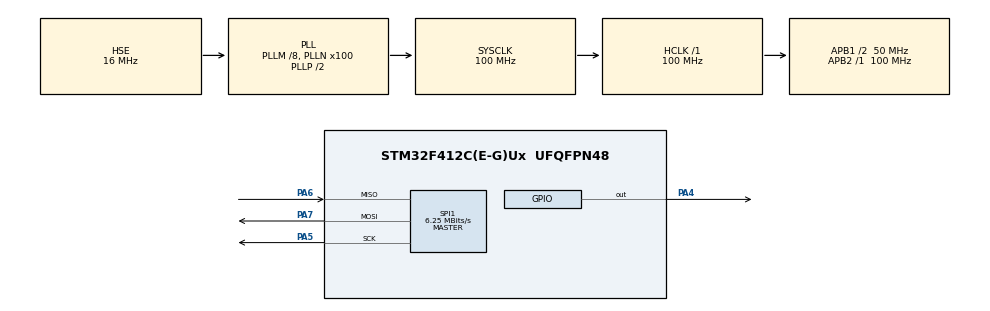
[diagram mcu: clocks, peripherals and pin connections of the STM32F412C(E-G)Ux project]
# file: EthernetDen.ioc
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Mcu.Family=STM32F4
Mcu.Name=STM32F412C(E-G)Ux
Mcu.Package=UFQFPN48
NVIC.PriorityGroup=NVIC_PRIORITYGROUP_4
PA4.Signal=GPIO_Output
PA5.Mode=Full_Duplex_Master
PA5.Signal=SPI1_SCK
PA6.Mode=Full_Duplex_Master
PA6.Signal=SPI1_MISO
PA7.Mode=Full_Duplex_Master
PA7.Signal=SPI1_MOSI
PH0\ -\ OSC_IN.Mode=HSE-External-Oscillator
PH0\ -\ OSC_IN.Signal=RCC_OSC_IN
PH1\ -\ OSC_OUT.Mode=HSE-External-Oscillator
PH1\ -\ OSC_OUT.Signal=RCC_OSC_OUT
ProjectManager.HeapSize=0x200
ProjectManager.StackSize=0x400
ProjectManager.TargetToolchain=STM32CubeIDE
RCC.AHBFreq_Value=100000000
RCC.APB1CLKDivider=RCC_HCLK_DIV2
RCC.APB1Freq_Value=50000000
RCC.APB1TimFreq_Value=100000000
RCC.APB2Freq_Value=100000000
RCC.APB2TimFreq_Value=100000000
RCC.CortexFreq_Value=100000000
RCC.HCLKFreq_Value=100000000
RCC.HSE_VALUE=16000000
RCC.PLLM=8
RCC.PLLN=100
RCC.PLLSourceVirtual=RCC_PLLSOURCE_HSE
RCC.SYSCLKFreq_VALUE=100000000
RCC.SYSCLKSource=RCC_SYSCLKSOURCE_PLLCLK
RCC.USBFreq_Value=100000000
RCC.VCOOutputFreq_Value=200000000
SPI1.BaudRatePrescaler=SPI_BAUDRATEPRESCALER_16
SPI1.CalculateBaudRate=6.25 MBits/s
SPI1.Direction=SPI_DIRECTION_2LINES
SPI1.Mode=SPI_MODE_MASTER
SPI1.VirtualType=VM_MASTER
board=custom

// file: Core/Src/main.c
/* USER CODE BEGIN Header */
/**
  ******************************************************************************
  * @file           : main.c
  * @brief          : Main program body
  ******************************************************************************
  * @attention
  *
  * <h2><center>&copy; Copyright (c) 2024 STMicroelectronics.
  * All rights reserved.</center></h2>
  *
  * This software component is licensed by ST under BSD 3-Clause license,
  * the "License"; You may not use this file except in compliance with the
  * License. You may obtain a copy of the License at:
  *                        opensource.org/licenses/BSD-3-Clause
  *
  ******************************************************************************
  */
/* USER CODE END Header */
#include "main.h"

/* USER CODE BEGIN Includes */
#include "stdio.h"
#include "string.h"

#include "Ethernet/wizchip_conf.h"
#include "Ethernet/socket.h"
#include "Application/loopback.h"
#include "Ethernet/w5500_spi.h"
/* USER CODE END Includes */

SPI_HandleTypeDef hspi1;

void SystemClock_Config(void);
static void MX_GPIO_Init(void);
static void MX_SPI1_Init(void);
/* USER CODE BEGIN PFP */
static void PHYStatusCheck(void);
static void PrintPHYConf(void);
/* USER CODE END PFP */

/* USER CODE BEGIN 0 */
wiz_NetInfo gWIZNETINFO = {
		.mac = { 0x80, 0x34, 0x28, 0x74, 0xA5, 0xCB },//MSB - LSB
		.ip ={ 192, 168, 1, 112 },
		.sn = { 255, 255, 255, 0 },
		.gw ={ 192, 168, 1, 1 },
		.dns = { 8, 8, 8, 8 },
		.dhcp = NETINFO_STATIC };

uint8_t destination_ip[]={192,168,1,137};
uint16_t destination_port=5000;

void PHYStatusCheck(void)
{
uint8_t tmp;

do
{
	printf("\r\nChecking Ethernet Cable Presence ...");
	ctlwizchip(CW_GET_PHYLINK, (void*) &tmp);

	if(tmp == PHY_LINK_OFF)
	{
		printf("NO Cable Connected!");
		HAL_Delay(1500);
	}
}while(tmp == PHY_LINK_OFF);

printf("Good! Cable got connected!");

}

void PrintPHYConf(void)
{
wiz_PhyConf phyconf;

ctlwizchip(CW_GET_PHYCONF, (void*) &phyconf);

if(phyconf.by==PHY_CONFBY_HW)
{
	printf("\n\rPHY Configured by Hardware Pins");
}
else
{
	printf("\n\rPHY Configured by Registers");
}

if(phyconf.mode==PHY_MODE_AUTONEGO)
{
	printf("\n\rAutonegotiation Enabled");
}
else
{
	printf("\n\rAutonegotiation NOT Enabled");
}

if(phyconf.duplex==PHY_DUPLEX_FULL)
{
	printf("\n\rDuplex Mode: Full");
}
else
{
	printf("\n\rDuplex Mode: Half");
}

if(phyconf.speed==PHY_SPEED_10)
{
	printf("\n\rSpeed: 10Mbps");
}
else
{
	printf("\n\rSpeed: 100Mbps");
}
}
/* USER CODE END 0 */

int main(void)
{

  /* MCU Configuration--------------------------------------------------------*/

  /* Reset of all peripherals, Initializes the Flash interface and the Systick. */
  HAL_Init();

  /* USER CODE BEGIN Init */
  setbuf(stdout, NULL);
  /* USER CODE END Init */

  /* Configure the system clock */
  SystemClock_Config();

  /* Initialize all configured peripherals */
  //MX_GPIO_Init();
  MX_SPI1_Init();
  /* USER CODE BEGIN 2 */

  W5500Init();

  HAL_Delay(1000);

  ctlnetwork(CN_SET_NETINFO, (void*)&gWIZNETINFO);

  HAL_Delay(1000);

  wiz_PhyConf phyConf;

  phyConf.by = PHY_CONFBY_SW;
  phyConf.duplex = PHY_DUPLEX_FULL;
  phyConf.speed = PHY_SPEED_10;
  phyConf.mode = PHY_MODE_AUTONEGO;

  ctlwizchip(CW_SET_PHYCONF, (void*)&phyConf);

  HAL_Delay(1000);

  PHYStatusCheck();

  HAL_Delay(1000);

  PrintPHYConf();
  HAL_Delay(1000);

  if( socket(1, Sn_MR_TCP, 0, 0) )
  {
	  printf("\r\nSocket created successfully..");
  }
  else
  {
	  printf("\r\nSocket cannot created..");
	  //while(1);
  }

  if(connect( 1, destination_ip, destination_port ) == SOCK_OK )
  {
	  printf("Connected with server");
  }
  else
  {
	  printf("Cannot connect");
  }

  char *txt = "Hello everyone, what's up...................................enes is onlineee anymore...\n\r";

  /* USER CODE END 2 */

  /* Infinite loop */
  /* USER CODE BEGIN WHILE */
  while (1)
  {
	  if( send(1, (uint8_t*)txt, strlen(txt))<SOCK_ERROR )
	  {
		  printf("Sending fail");
		  //while(1);
	  }
	  else
	  {
		  printf("SEnding success");
	  }

	  HAL_Delay(1000);

    /* USER CODE END WHILE */

  }
}

void SystemClock_Config(void)
{
  RCC_OscInitTypeDef RCC_OscInitStruct = {0};
  RCC_ClkInitTypeDef RCC_ClkInitStruct = {0};

  /** Configure the main internal regulator output voltage
  */
  __HAL_RCC_PWR_CLK_ENABLE();
  __HAL_PWR_VOLTAGESCALING_CONFIG(PWR_REGULATOR_VOLTAGE_SCALE1);
  /** Initializes the RCC Oscillators according to the specified parameters
  * in the RCC_OscInitTypeDef structure.
  */
  RCC_OscInitStruct.OscillatorType = RCC_OSCILLATORTYPE_HSE;
  RCC_OscInitStruct.HSEState = RCC_HSE_ON;
  RCC_OscInitStruct.PLL.PLLState = RCC_PLL_ON;
  RCC_OscInitStruct.PLL.PLLSource = RCC_PLLSOURCE_HSE;
  RCC_OscInitStruct.PLL.PLLM = 8;
  RCC_OscInitStruct.PLL.PLLN = 100;
  RCC_OscInitStruct.PLL.PLLP = RCC_PLLP_DIV2;
  RCC_OscInitStruct.PLL.PLLQ = 2;
  RCC_OscInitStruct.PLL.PLLR = 2;
  if (HAL_RCC_OscConfig(&RCC_OscInitStruct) != HAL_OK)
  {
    Error_Handler();
  }
  /** Initializes the CPU, AHB and APB buses clocks
  */
  RCC_ClkInitStruct.ClockType = RCC_CLOCKTYPE_HCLK|RCC_CLOCKTYPE_SYSCLK
                              |RCC_CLOCKTYPE_PCLK1|RCC_CLOCKTYPE_PCLK2;
  RCC_ClkInitStruct.SYSCLKSource = RCC_SYSCLKSOURCE_PLLCLK;
  RCC_ClkInitStruct.AHBCLKDivider = RCC_SYSCLK_DIV1;
  RCC_ClkInitStruct.APB1CLKDivider = RCC_HCLK_DIV2;
  RCC_ClkInitStruct.APB2CLKDivider = RCC_HCLK_DIV1;

  if (HAL_RCC_ClockConfig(&RCC_ClkInitStruct, FLASH_LATENCY_3) != HAL_OK)
  {
    Error_Handler();
  }
}

static void MX_SPI1_Init(void)
{

  /* SPI1 parameter configuration*/
  hspi1.Instance = SPI1;
  hspi1.Init.Mode = SPI_MODE_MASTER;
  hspi1.Init.Direction = SPI_DIRECTION_2LINES;
  hspi1.Init.DataSize = SPI_DATASIZE_8BIT;
  hspi1.Init.CLKPolarity = SPI_POLARITY_LOW;
  hspi1.Init.CLKPhase = SPI_PHASE_1EDGE;
  hspi1.Init.NSS = SPI_NSS_SOFT;
  hspi1.Init.BaudRatePrescaler = SPI_BAUDRATEPRESCALER_16;
  hspi1.Init.FirstBit = SPI_FIRSTBIT_MSB;
  hspi1.Init.TIMode = SPI_TIMODE_DISABLE;
  hspi1.Init.CRCCalculation = SPI_CRCCALCULATION_DISABLE;
  hspi1.Init.CRCPolynomial = 10;
  if (HAL_SPI_Init(&hspi1) != HAL_OK)
  {
    Error_Handler();
  }

}

static void MX_GPIO_Init(void)
{
  GPIO_InitTypeDef GPIO_InitStruct = {0};

  /* GPIO Ports Clock Enable */
  __HAL_RCC_GPIOH_CLK_ENABLE();
  __HAL_RCC_GPIOA_CLK_ENABLE();

  /*Configure GPIO pin Output Level */
  HAL_GPIO_WritePin(GPIOA, GPIO_PIN_4, GPIO_PIN_RESET);

  /*Configure GPIO pin : PA4 */
  GPIO_InitStruct.Pin = GPIO_PIN_4;
  GPIO_InitStruct.Mode = GPIO_MODE_OUTPUT_PP;
  GPIO_InitStruct.Pull = GPIO_NOPULL;
  GPIO_InitStruct.Speed = GPIO_SPEED_FREQ_LOW;
  HAL_GPIO_Init(GPIOA, &GPIO_InitStruct);

}

void Error_Handler(void)
{
  __disable_irq();
  while (1)
  {
  }
}

/************************ (C) COPYRIGHT STMicroelectronics *****END OF FILE****/
